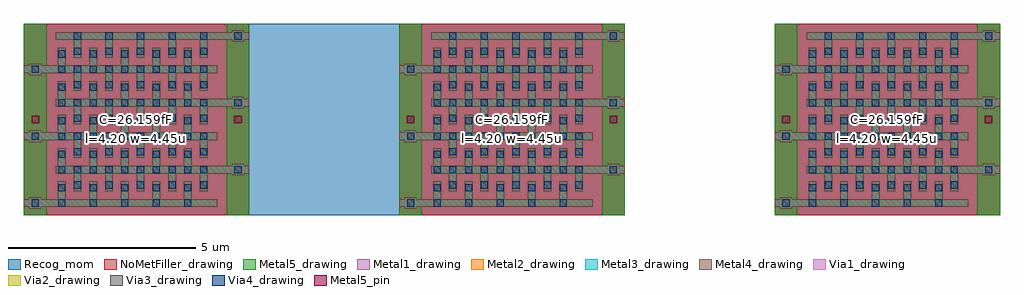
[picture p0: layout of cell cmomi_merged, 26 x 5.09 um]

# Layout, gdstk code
import gdstk
lib = gdstk.Library(unit=1e-6, precision=1e-09)
def R(c, l, rs):  # rectangles x0, y0, x1, y1
    for r in rs: c.add(gdstk.rectangle(r[:2], r[2:], *l))
def A(c, l, x, y, w, h, nx, ny, dx, dy):  # array of equal rectangles
    R(c, l, [(x+i*dx, y+j*dy, x+i*dx+w, y+j*dy+h) for i in range(nx) for j in range(ny)])
Metal1_drawing = (8, 0)
Metal2_drawing = (10, 0)
Via1_drawing = (19, 0)
Via2_drawing = (29, 0)
Metal3_drawing = (30, 0)
Via3_drawing = (49, 0)
Metal4_drawing = (50, 0)
Via4_drawing = (66, 0)
Metal5_drawing = (67, 0)
Metal5_pin = (67, 2)
Recog_mom = (99, 39)
NoMetFiller_drawing = (160, 0)

cmomi_merged = lib.new_cell('cmomi_merged')
A(cmomi_merged, Metal1_drawing, 0.145, -2.38, 0.31, 0.31, 3, 3, 10, 1.78)
A(cmomi_merged, Metal1_drawing, 0, -2.33, 5.15, 0.21, 3, 3, 10, 1.78)
A(cmomi_merged, Metal1_drawing, 0.9, -2.225, 0.21, 0.575, 5, 5, 0.84, 0.89)
A(cmomi_merged, Metal1_drawing, 10.9, -2.225, 0.21, 0.575, 5, 5, 0.84, 0.89)
A(cmomi_merged, Metal1_drawing, 20.9, -2.225, 0.21, 0.575, 5, 5, 0.84, 0.89)
A(cmomi_merged, Metal1_drawing, 1.32, -1.91, 0.21, 0.575, 5, 5, 0.84, 0.89)
A(cmomi_merged, Metal1_drawing, 11.32, -1.91, 0.21, 0.575, 5, 5, 0.84, 0.89)
A(cmomi_merged, Metal1_drawing, 21.32, -1.91, 0.21, 0.575, 5, 5, 0.84, 0.89)
A(cmomi_merged, Metal1_drawing, 5.545, -1.49, 0.31, 0.31, 3, 3, 10, 1.78)
A(cmomi_merged, Metal1_drawing, 0.85, -1.44, 5.15, 0.21, 3, 3, 10, 1.78)
A(cmomi_merged, Metal2_drawing, 0.145, -2.38, 0.31, 0.31, 3, 3, 10, 1.78)
A(cmomi_merged, Metal2_drawing, 0, -2.33, 5.15, 0.21, 3, 3, 10, 1.78)
A(cmomi_merged, Metal2_drawing, 0.9, -2.225, 0.21, 0.575, 5, 5, 0.84, 0.89)
A(cmomi_merged, Metal2_drawing, 10.9, -2.225, 0.21, 0.575, 5, 5, 0.84, 0.89)
A(cmomi_merged, Metal2_drawing, 20.9, -2.225, 0.21, 0.575, 5, 5, 0.84, 0.89)
A(cmomi_merged, Metal2_drawing, 1.32, -1.91, 0.21, 0.575, 5, 5, 0.84, 0.89)
A(cmomi_merged, Metal2_drawing, 11.32, -1.91, 0.21, 0.575, 5, 5, 0.84, 0.89)
A(cmomi_merged, Metal2_drawing, 21.32, -1.91, 0.21, 0.575, 5, 5, 0.84, 0.89)
A(cmomi_merged, Metal2_drawing, 5.545, -1.49, 0.31, 0.31, 3, 3, 10, 1.78)
A(cmomi_merged, Metal2_drawing, 0.85, -1.44, 5.15, 0.21, 3, 3, 10, 1.78)
A(cmomi_merged, Via1_drawing, 0.205, -2.32, 0.19, 0.19, 1, 3, 0, 1.78)
A(cmomi_merged, Via1_drawing, 0.91, -2.32, 0.19, 0.19, 5, 2, 0.84, 0.41)
A(cmomi_merged, Via1_drawing, 10.205, -2.32, 0.19, 0.19, 1, 3, 0, 1.78)
A(cmomi_merged, Via1_drawing, 10.91, -2.32, 0.19, 0.19, 5, 2, 0.84, 0.41)
A(cmomi_merged, Via1_drawing, 20.205, -2.32, 0.19, 0.19, 1, 3, 0, 1.78)
A(cmomi_merged, Via1_drawing, 20.91, -2.32, 0.19, 0.19, 5, 2, 0.84, 0.41)
A(cmomi_merged, Via1_drawing, 1.33, -1.84, 0.19, 0.19, 5, 5, 0.84, 0.89)
A(cmomi_merged, Via1_drawing, 11.33, -1.84, 0.19, 0.19, 5, 5, 0.84, 0.89)
A(cmomi_merged, Via1_drawing, 21.33, -1.84, 0.19, 0.19, 5, 5, 0.84, 0.89)
A(cmomi_merged, Via1_drawing, 0.91, -1.43, 0.19, 0.19, 10, 4, 0.42, 0.89)
A(cmomi_merged, Via1_drawing, 5.605, -1.43, 0.19, 0.19, 1, 3, 0, 1.78)
A(cmomi_merged, Via1_drawing, 10.91, -1.43, 0.19, 0.19, 10, 4, 0.42, 0.89)
A(cmomi_merged, Via1_drawing, 15.605, -1.43, 0.19, 0.19, 1, 3, 0, 1.78)
A(cmomi_merged, Via1_drawing, 20.91, -1.43, 0.19, 0.19, 10, 4, 0.42, 0.89)
A(cmomi_merged, Via1_drawing, 25.605, -1.43, 0.19, 0.19, 1, 3, 0, 1.78)
A(cmomi_merged, Via1_drawing, 0.91, -1.02, 0.19, 0.19, 5, 4, 0.84, 0.89)
A(cmomi_merged, Via1_drawing, 10.91, -1.02, 0.19, 0.19, 5, 4, 0.84, 0.89)
A(cmomi_merged, Via1_drawing, 20.91, -1.02, 0.19, 0.19, 5, 4, 0.84, 0.89)
A(cmomi_merged, Via1_drawing, 1.33, 2.13, 0.19, 0.19, 5, 1, 0.84, 0)
A(cmomi_merged, Via1_drawing, 11.33, 2.13, 0.19, 0.19, 5, 1, 0.84, 0)
A(cmomi_merged, Via1_drawing, 21.33, 2.13, 0.19, 0.19, 5, 1, 0.84, 0)
A(cmomi_merged, Via2_drawing, 0.205, -2.32, 0.19, 0.19, 1, 3, 0, 1.78)
A(cmomi_merged, Via2_drawing, 0.91, -2.32, 0.19, 0.19, 5, 2, 0.84, 0.41)
A(cmomi_merged, Via2_drawing, 10.205, -2.32, 0.19, 0.19, 1, 3, 0, 1.78)
A(cmomi_merged, Via2_drawing, 10.91, -2.32, 0.19, 0.19, 5, 2, 0.84, 0.41)
A(cmomi_merged, Via2_drawing, 20.205, -2.32, 0.19, 0.19, 1, 3, 0, 1.78)
A(cmomi_merged, Via2_drawing, 20.91, -2.32, 0.19, 0.19, 5, 2, 0.84, 0.41)
A(cmomi_merged, Via2_drawing, 1.33, -1.84, 0.19, 0.19, 5, 5, 0.84, 0.89)
A(cmomi_merged, Via2_drawing, 11.33, -1.84, 0.19, 0.19, 5, 5, 0.84, 0.89)
A(cmomi_merged, Via2_drawing, 21.33, -1.84, 0.19, 0.19, 5, 5, 0.84, 0.89)
A(cmomi_merged, Via2_drawing, 0.91, -1.43, 0.19, 0.19, 10, 4, 0.42, 0.89)
A(cmomi_merged, Via2_drawing, 5.605, -1.43, 0.19, 0.19, 1, 3, 0, 1.78)
A(cmomi_merged, Via2_drawing, 10.91, -1.43, 0.19, 0.19, 10, 4, 0.42, 0.89)
A(cmomi_merged, Via2_drawing, 15.605, -1.43, 0.19, 0.19, 1, 3, 0, 1.78)
A(cmomi_merged, Via2_drawing, 20.91, -1.43, 0.19, 0.19, 10, 4, 0.42, 0.89)
A(cmomi_merged, Via2_drawing, 25.605, -1.43, 0.19, 0.19, 1, 3, 0, 1.78)
A(cmomi_merged, Via2_drawing, 0.91, -1.02, 0.19, 0.19, 5, 4, 0.84, 0.89)
A(cmomi_merged, Via2_drawing, 10.91, -1.02, 0.19, 0.19, 5, 4, 0.84, 0.89)
A(cmomi_merged, Via2_drawing, 20.91, -1.02, 0.19, 0.19, 5, 4, 0.84, 0.89)
A(cmomi_merged, Via2_drawing, 1.33, 2.13, 0.19, 0.19, 5, 1, 0.84, 0)
A(cmomi_merged, Via2_drawing, 11.33, 2.13, 0.19, 0.19, 5, 1, 0.84, 0)
A(cmomi_merged, Via2_drawing, 21.33, 2.13, 0.19, 0.19, 5, 1, 0.84, 0)
A(cmomi_merged, Metal3_drawing, 0.145, -2.38, 0.31, 0.31, 3, 3, 10, 1.78)
A(cmomi_merged, Metal3_drawing, 0, -2.33, 5.15, 0.21, 3, 3, 10, 1.78)
A(cmomi_merged, Metal3_drawing, 0.9, -2.225, 0.21, 0.575, 5, 5, 0.84, 0.89)
A(cmomi_merged, Metal3_drawing, 10.9, -2.225, 0.21, 0.575, 5, 5, 0.84, 0.89)
A(cmomi_merged, Metal3_drawing, 20.9, -2.225, 0.21, 0.575, 5, 5, 0.84, 0.89)
A(cmomi_merged, Metal3_drawing, 1.32, -1.91, 0.21, 0.575, 5, 5, 0.84, 0.89)
A(cmomi_merged, Metal3_drawing, 11.32, -1.91, 0.21, 0.575, 5, 5, 0.84, 0.89)
A(cmomi_merged, Metal3_drawing, 21.32, -1.91, 0.21, 0.575, 5, 5, 0.84, 0.89)
A(cmomi_merged, Metal3_drawing, 5.545, -1.49, 0.31, 0.31, 3, 3, 10, 1.78)
A(cmomi_merged, Metal3_drawing, 0.85, -1.44, 5.15, 0.21, 3, 3, 10, 1.78)
A(cmomi_merged, Via3_drawing, 0.205, -2.32, 0.19, 0.19, 1, 3, 0, 1.78)
A(cmomi_merged, Via3_drawing, 0.91, -2.32, 0.19, 0.19, 5, 2, 0.84, 0.41)
A(cmomi_merged, Via3_drawing, 10.205, -2.32, 0.19, 0.19, 1, 3, 0, 1.78)
A(cmomi_merged, Via3_drawing, 10.91, -2.32, 0.19, 0.19, 5, 2, 0.84, 0.41)
A(cmomi_merged, Via3_drawing, 20.205, -2.32, 0.19, 0.19, 1, 3, 0, 1.78)
A(cmomi_merged, Via3_drawing, 20.91, -2.32, 0.19, 0.19, 5, 2, 0.84, 0.41)
A(cmomi_merged, Via3_drawing, 1.33, -1.84, 0.19, 0.19, 5, 5, 0.84, 0.89)
A(cmomi_merged, Via3_drawing, 11.33, -1.84, 0.19, 0.19, 5, 5, 0.84, 0.89)
A(cmomi_merged, Via3_drawing, 21.33, -1.84, 0.19, 0.19, 5, 5, 0.84, 0.89)
A(cmomi_merged, Via3_drawing, 0.91, -1.43, 0.19, 0.19, 10, 4, 0.42, 0.89)
A(cmomi_merged, Via3_drawing, 5.605, -1.43, 0.19, 0.19, 1, 3, 0, 1.78)
A(cmomi_merged, Via3_drawing, 10.91, -1.43, 0.19, 0.19, 10, 4, 0.42, 0.89)
A(cmomi_merged, Via3_drawing, 15.605, -1.43, 0.19, 0.19, 1, 3, 0, 1.78)
A(cmomi_merged, Via3_drawing, 20.91, -1.43, 0.19, 0.19, 10, 4, 0.42, 0.89)
A(cmomi_merged, Via3_drawing, 25.605, -1.43, 0.19, 0.19, 1, 3, 0, 1.78)
A(cmomi_merged, Via3_drawing, 0.91, -1.02, 0.19, 0.19, 5, 4, 0.84, 0.89)
A(cmomi_merged, Via3_drawing, 10.91, -1.02, 0.19, 0.19, 5, 4, 0.84, 0.89)
A(cmomi_merged, Via3_drawing, 20.91, -1.02, 0.19, 0.19, 5, 4, 0.84, 0.89)
A(cmomi_merged, Via3_drawing, 1.33, 2.13, 0.19, 0.19, 5, 1, 0.84, 0)
A(cmomi_merged, Via3_drawing, 11.33, 2.13, 0.19, 0.19, 5, 1, 0.84, 0)
A(cmomi_merged, Via3_drawing, 21.33, 2.13, 0.19, 0.19, 5, 1, 0.84, 0)
A(cmomi_merged, Metal4_drawing, 0.145, -2.38, 0.31, 0.31, 3, 3, 10, 1.78)
A(cmomi_merged, Metal4_drawing, 0, -2.33, 5.15, 0.21, 3, 3, 10, 1.78)
A(cmomi_merged, Metal4_drawing, 0.9, -2.225, 0.21, 0.575, 5, 5, 0.84, 0.89)
A(cmomi_merged, Metal4_drawing, 10.9, -2.225, 0.21, 0.575, 5, 5, 0.84, 0.89)
A(cmomi_merged, Metal4_drawing, 20.9, -2.225, 0.21, 0.575, 5, 5, 0.84, 0.89)
A(cmomi_merged, Metal4_drawing, 1.32, -1.91, 0.21, 0.575, 5, 5, 0.84, 0.89)
A(cmomi_merged, Metal4_drawing, 11.32, -1.91, 0.21, 0.575, 5, 5, 0.84, 0.89)
A(cmomi_merged, Metal4_drawing, 21.32, -1.91, 0.21, 0.575, 5, 5, 0.84, 0.89)
A(cmomi_merged, Metal4_drawing, 5.545, -1.49, 0.31, 0.31, 3, 3, 10, 1.78)
A(cmomi_merged, Metal4_drawing, 0.85, -1.44, 5.15, 0.21, 3, 3, 10, 1.78)
A(cmomi_merged, Via4_drawing, 0.205, -2.32, 0.19, 0.19, 1, 3, 0, 1.78)
A(cmomi_merged, Via4_drawing, 0.91, -2.32, 0.19, 0.19, 5, 2, 0.84, 0.41)
A(cmomi_merged, Via4_drawing, 10.205, -2.32, 0.19, 0.19, 1, 3, 0, 1.78)
A(cmomi_merged, Via4_drawing, 10.91, -2.32, 0.19, 0.19, 5, 2, 0.84, 0.41)
A(cmomi_merged, Via4_drawing, 20.205, -2.32, 0.19, 0.19, 1, 3, 0, 1.78)
A(cmomi_merged, Via4_drawing, 20.91, -2.32, 0.19, 0.19, 5, 2, 0.84, 0.41)
A(cmomi_merged, Via4_drawing, 1.33, -1.84, 0.19, 0.19, 5, 5, 0.84, 0.89)
A(cmomi_merged, Via4_drawing, 11.33, -1.84, 0.19, 0.19, 5, 5, 0.84, 0.89)
A(cmomi_merged, Via4_drawing, 21.33, -1.84, 0.19, 0.19, 5, 5, 0.84, 0.89)
A(cmomi_merged, Via4_drawing, 0.91, -1.43, 0.19, 0.19, 10, 4, 0.42, 0.89)
A(cmomi_merged, Via4_drawing, 5.605, -1.43, 0.19, 0.19, 1, 3, 0, 1.78)
A(cmomi_merged, Via4_drawing, 10.91, -1.43, 0.19, 0.19, 10, 4, 0.42, 0.89)
A(cmomi_merged, Via4_drawing, 15.605, -1.43, 0.19, 0.19, 1, 3, 0, 1.78)
A(cmomi_merged, Via4_drawing, 20.91, -1.43, 0.19, 0.19, 10, 4, 0.42, 0.89)
A(cmomi_merged, Via4_drawing, 25.605, -1.43, 0.19, 0.19, 1, 3, 0, 1.78)
A(cmomi_merged, Via4_drawing, 0.91, -1.02, 0.19, 0.19, 5, 4, 0.84, 0.89)
A(cmomi_merged, Via4_drawing, 10.91, -1.02, 0.19, 0.19, 5, 4, 0.84, 0.89)
A(cmomi_merged, Via4_drawing, 20.91, -1.02, 0.19, 0.19, 5, 4, 0.84, 0.89)
A(cmomi_merged, Via4_drawing, 1.33, 2.13, 0.19, 0.19, 5, 1, 0.84, 0)
A(cmomi_merged, Via4_drawing, 11.33, 2.13, 0.19, 0.19, 5, 1, 0.84, 0)
A(cmomi_merged, Via4_drawing, 21.33, 2.13, 0.19, 0.19, 5, 1, 0.84, 0)
A(cmomi_merged, Metal5_drawing, 0, -2.33, 5.15, 0.21, 3, 3, 10, 1.78)
A(cmomi_merged, Metal5_drawing, 0.9, -2.225, 0.21, 0.575, 5, 5, 0.84, 0.89)
A(cmomi_merged, Metal5_drawing, 10.9, -2.225, 0.21, 0.575, 5, 5, 0.84, 0.89)
A(cmomi_merged, Metal5_drawing, 20.9, -2.225, 0.21, 0.575, 5, 5, 0.84, 0.89)
A(cmomi_merged, Metal5_drawing, 1.32, -1.91, 0.21, 0.575, 5, 5, 0.84, 0.89)
A(cmomi_merged, Metal5_drawing, 11.32, -1.91, 0.21, 0.575, 5, 5, 0.84, 0.89)
A(cmomi_merged, Metal5_drawing, 21.32, -1.91, 0.21, 0.575, 5, 5, 0.84, 0.89)
A(cmomi_merged, Metal5_drawing, 0.85, -1.44, 5.15, 0.21, 3, 3, 10, 1.78)
R(cmomi_merged, Metal5_drawing, [(0,-2.545,0.6,2.545), (5.4,-2.545,6,2.545), (10,-2.545,10.6,2.545), (15.4,-2.545,16,2.545), (20,-2.545,20.6,2.545), (25.4,-2.545,26,2.545)])
R(cmomi_merged, Metal5_pin, [(0.2,-0.105,0.4,0.105), (5.6,-0.105,5.8,0.105), (10.2,-0.105,10.4,0.105), (15.6,-0.105,15.8,0.105), (20.2,-0.105,20.4,0.105), (25.6,-0.105,25.8,0.105)])
A(cmomi_merged, Recog_mom, 0, -2.545, 6, 5.09, 3, 1, 10, 0)
R(cmomi_merged, Recog_mom, [(5.9,-2.545,10.1,2.545)])
A(cmomi_merged, NoMetFiller_drawing, 0, -2.545, 6, 5.09, 3, 1, 10, 0)
cmomi_merged.add(gdstk.Label('C=26.159fF', (3,0), layer=63, texttype=0))
cmomi_merged.add(gdstk.Label('cap_cmomi', (3,0), layer=63, texttype=0))
cmomi_merged.add(gdstk.Label('l=4.20 w=4.45u', (3,-0.5), layer=63, texttype=0))
cmomi_merged.add(gdstk.Label('C=26.159fF', (13,0), layer=63, texttype=0))
cmomi_merged.add(gdstk.Label('cap_cmomi', (13,0), layer=63, texttype=0))
cmomi_merged.add(gdstk.Label('l=4.20 w=4.45u', (13,-0.5), layer=63, texttype=0))
cmomi_merged.add(gdstk.Label('C=26.159fF', (23,0), layer=63, texttype=0))
cmomi_merged.add(gdstk.Label('cap_cmomi', (23,0), layer=63, texttype=0))
cmomi_merged.add(gdstk.Label('l=4.20 w=4.45u', (23,-0.5), layer=63, texttype=0))

lib.write_gds('cmomi_merged.gds')
